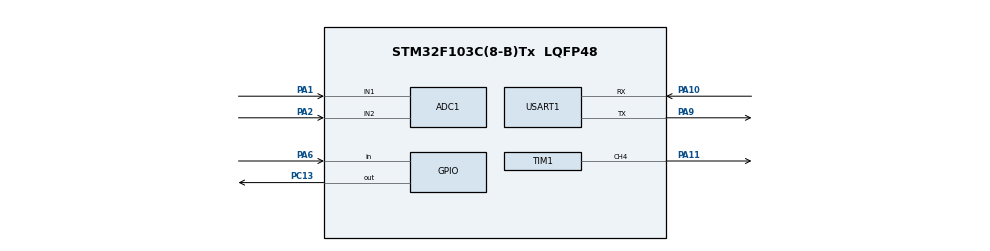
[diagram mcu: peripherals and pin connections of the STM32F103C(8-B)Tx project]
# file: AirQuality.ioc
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ADC1.Channel-1\#ChannelRegularConversion=ADC_CHANNEL_1
ADC1.NbrOfConversionFlag=1
ADC1.Rank-1\#ChannelRegularConversion=1
ADC1.SamplingTime-1\#ChannelRegularConversion=ADC_SAMPLETIME_1CYCLE_5
ADC1.master=1
Mcu.Family=STM32F1
Mcu.Name=STM32F103C(8-B)Tx
Mcu.Package=LQFP48
NVIC.PriorityGroup=NVIC_PRIORITYGROUP_4
NVIC.USART1_IRQn=true\:0\:0\:false\:false\:true\:true\:true\:true
PA1.Signal=ADCx_IN1
PA10.Mode=Asynchronous
PA10.Signal=USART1_RX
PA11.Signal=S_TIM1_CH4
PA13.Mode=Serial_Wire
PA13.Signal=SYS_JTMS-SWDIO
PA14.Mode=Serial_Wire
PA14.Signal=SYS_JTCK-SWCLK
PA2.Signal=ADCx_IN2
PA6.Signal=GPIO_Input
PA9.Mode=Asynchronous
PA9.Signal=USART1_TX
PC13-TAMPER-RTC.Signal=GPIO_Output
ProjectManager.HeapSize=0x200
ProjectManager.StackSize=0x400
ProjectManager.TargetToolchain=MDK-ARM V5
RCC.APB1Freq_Value=8000000
RCC.APB2Freq_Value=8000000
SH.ADCx_IN1.0=ADC1_IN1,IN1
SH.ADCx_IN2.0=ADC1_IN2,IN2
SH.S_TIM1_CH4.0=TIM1_CH4,PWM Generation4 CH4
TIM1.Channel-PWM\ Generation4\ CH4=TIM_CHANNEL_4
TIM1.Period=99
TIM1.Prescaler=7999
USART1.VirtualMode=VM_ASYNC
VP_TIM1_VS_ClockSourceINT.Mode=Internal
board=custom

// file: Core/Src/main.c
/* USER CODE BEGIN Header */
/**
  ******************************************************************************
  * @file           : main.c
  * @brief          : Main program body
  ******************************************************************************
  * @attention
  *
  * Copyright (c) 2024 STMicroelectronics.
  * All rights reserved.
  *
  * This software is licensed under terms that can be found in the LICENSE file
  * in the root directory of this software component.
  * If no LICENSE file comes with this software, it is provided AS-IS.
  *
  ******************************************************************************
  */
/* USER CODE END Header */
#include "main.h"

/* USER CODE BEGIN Includes */
#include <stdio.h>
/* USER CODE END Includes */

ADC_HandleTypeDef hadc1;

TIM_HandleTypeDef htim1;

UART_HandleTypeDef huart1;

//Fan speed when sensors detect gas or CO or Dust surpass threshold, max = 99
uint8_t fanPWM = 49u;
//CO threshold to turn on fan
uint16_t coThreshold = 2100;
//Dust threshold to turn on fan
uint16_t dustThreshold = 1200;

/* USER CODE BEGIN PV */
uint8_t rxBuffer[16] = "";
/* USER CODE END PV */

void SystemClock_Config(void);
static void MX_GPIO_Init(void);
static void MX_ADC1_Init(void);
static void MX_USART1_UART_Init(void);
static void MX_TIM1_Init(void);

/* USER CODE BEGIN 0 */

//Get ADC value using adc 1
uint16_t ADC_GetValue(uint32_t channel){
		ADC_ChannelConfTypeDef conf = {
				.Channel = channel,
				.Rank = 1,
				.SamplingTime = ADC_SAMPLETIME_1CYCLE_5,
		};
		if (HAL_ADC_ConfigChannel(&hadc1, &conf) != HAL_OK) {
        Error_Handler();
    }
		HAL_ADC_Start(&hadc1);
		HAL_ADC_PollForConversion(&hadc1,HAL_MAX_DELAY);
		uint16_t res = HAL_ADC_GetValue(&hadc1);
		HAL_ADC_Stop(&hadc1);
		return res;
}

//Update new threshold and fan speed by using UART
void HAL_UART_RxCpltCallback(UART_HandleTypeDef *huart){
		if(huart->Instance == huart1.Instance){
				//Get string
				HAL_UART_Receive(huart,rxBuffer,sizeof(rxBuffer),HAL_MAX_DELAY);

				//Get data from string
				sscanf((char*)rxBuffer,"%d %d %d\n\r",
						(int*)&fanPWM,(int*)&coThreshold,(int*)&dustThreshold);
		}
}

/* USER CODE END 0 */

int main(void)
{

  /* MCU Configuration--------------------------------------------------------*/

  /* Reset of all peripherals, Initializes the Flash interface and the Systick. */
  HAL_Init();

  /* Configure the system clock */
  SystemClock_Config();

  /* Initialize all configured peripherals */
  MX_GPIO_Init();
  MX_ADC1_Init();
  MX_USART1_UART_Init();
  MX_TIM1_Init();
  /* USER CODE BEGIN 2 */
	HAL_TIM_PWM_Start(&htim1,TIM_CHANNEL_4);
	HAL_UART_Receive_IT(&huart1,rxBuffer,sizeof(rxBuffer));
  /* USER CODE END 2 */

  /* Infinite loop */
  /* USER CODE BEGIN WHILE */
	uint16_t adc_value_1;
	uint16_t adc_value_2;
	GPIO_PinState isGas;
	uint8_t msg[32] = "";

  while (1)
  {
    /* USER CODE END WHILE */

    /* USER CODE BEGIN 3 */
		//Toggle Led
		HAL_GPIO_TogglePin(GPIOC,GPIO_PIN_13);

		//Check MQ135 dectect Gas, 1 means OK, 0 means having gas
		isGas = HAL_GPIO_ReadPin(GPIOA,GPIO_PIN_6);

		//Get analog value of MQ135
		adc_value_1 = ADC_GetValue(ADC_CHANNEL_1);
		//Get analog value of GP2Y1010AU0F Dust sensor
		adc_value_2 = ADC_GetValue(ADC_CHANNEL_2);

		//Check sensor value to turn on fan
		if(isGas == 0 || adc_value_1 >= coThreshold || adc_value_2 >= dustThreshold){
				//On fan
				__HAL_TIM_SET_COMPARE(&htim1,TIM_CHANNEL_4,fanPWM);
		}
		else{
				//Off fan
				__HAL_TIM_SET_COMPARE(&htim1,TIM_CHANNEL_4,0);
		}

		//Make msg(message) from variables
		sprintf((char *)msg,"%d %d %d\n\t",isGas,adc_value_1,adc_value_2);
		//Send string by using UART
		HAL_UART_Transmit(&huart1,msg,sizeof(msg),HAL_MAX_DELAY);

		HAL_Delay(1000);
  }
  /* USER CODE END 3 */
}

void SystemClock_Config(void)
{
  RCC_OscInitTypeDef RCC_OscInitStruct = {0};
  RCC_ClkInitTypeDef RCC_ClkInitStruct = {0};
  RCC_PeriphCLKInitTypeDef PeriphClkInit = {0};

  /** Initializes the RCC Oscillators according to the specified parameters
  * in the RCC_OscInitTypeDef structure.
  */
  RCC_OscInitStruct.OscillatorType = RCC_OSCILLATORTYPE_HSI;
  RCC_OscInitStruct.HSIState = RCC_HSI_ON;
  RCC_OscInitStruct.HSICalibrationValue = RCC_HSICALIBRATION_DEFAULT;
  RCC_OscInitStruct.PLL.PLLState = RCC_PLL_NONE;
  if (HAL_RCC_OscConfig(&RCC_OscInitStruct) != HAL_OK)
  {
    Error_Handler();
  }

  /** Initializes the CPU, AHB and APB buses clocks
  */
  RCC_ClkInitStruct.ClockType = RCC_CLOCKTYPE_HCLK|RCC_CLOCKTYPE_SYSCLK
                              |RCC_CLOCKTYPE_PCLK1|RCC_CLOCKTYPE_PCLK2;
  RCC_ClkInitStruct.SYSCLKSource = RCC_SYSCLKSOURCE_HSI;
  RCC_ClkInitStruct.AHBCLKDivider = RCC_SYSCLK_DIV1;
  RCC_ClkInitStruct.APB1CLKDivider = RCC_HCLK_DIV1;
  RCC_ClkInitStruct.APB2CLKDivider = RCC_HCLK_DIV1;

  if (HAL_RCC_ClockConfig(&RCC_ClkInitStruct, FLASH_LATENCY_0) != HAL_OK)
  {
    Error_Handler();
  }
  PeriphClkInit.PeriphClockSelection = RCC_PERIPHCLK_ADC;
  PeriphClkInit.AdcClockSelection = RCC_ADCPCLK2_DIV2;
  if (HAL_RCCEx_PeriphCLKConfig(&PeriphClkInit) != HAL_OK)
  {
    Error_Handler();
  }
}

static void MX_ADC1_Init(void)
{

  ADC_ChannelConfTypeDef sConfig = {0};

  /** Common config
  */
  hadc1.Instance = ADC1;
  hadc1.Init.ScanConvMode = ADC_SCAN_DISABLE;
  hadc1.Init.ContinuousConvMode = DISABLE;
  hadc1.Init.DiscontinuousConvMode = DISABLE;
  hadc1.Init.ExternalTrigConv = ADC_SOFTWARE_START;
  hadc1.Init.DataAlign = ADC_DATAALIGN_RIGHT;
  hadc1.Init.NbrOfConversion = 1;
  if (HAL_ADC_Init(&hadc1) != HAL_OK)
  {
    Error_Handler();
  }

  /** Configure Regular Channel
  */
  sConfig.Channel = ADC_CHANNEL_1;
  sConfig.Rank = ADC_REGULAR_RANK_1;
  sConfig.SamplingTime = ADC_SAMPLETIME_1CYCLE_5;
  if (HAL_ADC_ConfigChannel(&hadc1, &sConfig) != HAL_OK)
  {
    Error_Handler();
  }

}

static void MX_TIM1_Init(void)
{

  TIM_ClockConfigTypeDef sClockSourceConfig = {0};
  TIM_MasterConfigTypeDef sMasterConfig = {0};
  TIM_OC_InitTypeDef sConfigOC = {0};
  TIM_BreakDeadTimeConfigTypeDef sBreakDeadTimeConfig = {0};

  htim1.Instance = TIM1;
  htim1.Init.Prescaler = 7999;
  htim1.Init.CounterMode = TIM_COUNTERMODE_UP;
  htim1.Init.Period = 99;
  htim1.Init.ClockDivision = TIM_CLOCKDIVISION_DIV1;
  htim1.Init.RepetitionCounter = 0;
  htim1.Init.AutoReloadPreload = TIM_AUTORELOAD_PRELOAD_DISABLE;
  if (HAL_TIM_Base_Init(&htim1) != HAL_OK)
  {
    Error_Handler();
  }
  sClockSourceConfig.ClockSource = TIM_CLOCKSOURCE_INTERNAL;
  if (HAL_TIM_ConfigClockSource(&htim1, &sClockSourceConfig) != HAL_OK)
  {
    Error_Handler();
  }
  if (HAL_TIM_PWM_Init(&htim1) != HAL_OK)
  {
    Error_Handler();
  }
  sMasterConfig.MasterOutputTrigger = TIM_TRGO_RESET;
  sMasterConfig.MasterSlaveMode = TIM_MASTERSLAVEMODE_DISABLE;
  if (HAL_TIMEx_MasterConfigSynchronization(&htim1, &sMasterConfig) != HAL_OK)
  {
    Error_Handler();
  }
  sConfigOC.OCMode = TIM_OCMODE_PWM1;
  sConfigOC.Pulse = 0;
  sConfigOC.OCPolarity = TIM_OCPOLARITY_HIGH;
  sConfigOC.OCFastMode = TIM_OCFAST_DISABLE;
  sConfigOC.OCIdleState = TIM_OCIDLESTATE_RESET;
  sConfigOC.OCNIdleState = TIM_OCNIDLESTATE_RESET;
  if (HAL_TIM_PWM_ConfigChannel(&htim1, &sConfigOC, TIM_CHANNEL_4) != HAL_OK)
  {
    Error_Handler();
  }
  sBreakDeadTimeConfig.OffStateRunMode = TIM_OSSR_DISABLE;
  sBreakDeadTimeConfig.OffStateIDLEMode = TIM_OSSI_DISABLE;
  sBreakDeadTimeConfig.LockLevel = TIM_LOCKLEVEL_OFF;
  sBreakDeadTimeConfig.DeadTime = 0;
  sBreakDeadTimeConfig.BreakState = TIM_BREAK_DISABLE;
  sBreakDeadTimeConfig.BreakPolarity = TIM_BREAKPOLARITY_HIGH;
  sBreakDeadTimeConfig.AutomaticOutput = TIM_AUTOMATICOUTPUT_DISABLE;
  if (HAL_TIMEx_ConfigBreakDeadTime(&htim1, &sBreakDeadTimeConfig) != HAL_OK)
  {
    Error_Handler();
  }
  HAL_TIM_MspPostInit(&htim1);

}

static void MX_USART1_UART_Init(void)
{

  huart1.Instance = USART1;
  huart1.Init.BaudRate = 115200;
  huart1.Init.WordLength = UART_WORDLENGTH_8B;
  huart1.Init.StopBits = UART_STOPBITS_1;
  huart1.Init.Parity = UART_PARITY_NONE;
  huart1.Init.Mode = UART_MODE_TX_RX;
  huart1.Init.HwFlowCtl = UART_HWCONTROL_NONE;
  huart1.Init.OverSampling = UART_OVERSAMPLING_16;
  if (HAL_UART_Init(&huart1) != HAL_OK)
  {
    Error_Handler();
  }

}

static void MX_GPIO_Init(void)
{
  GPIO_InitTypeDef GPIO_InitStruct = {0};

  /* GPIO Ports Clock Enable */
  __HAL_RCC_GPIOC_CLK_ENABLE();
  __HAL_RCC_GPIOA_CLK_ENABLE();

  /*Configure GPIO pin Output Level */
  HAL_GPIO_WritePin(GPIOC, GPIO_PIN_13, GPIO_PIN_RESET);

  /*Configure GPIO pin : PC13 */
  GPIO_InitStruct.Pin = GPIO_PIN_13;
  GPIO_InitStruct.Mode = GPIO_MODE_OUTPUT_PP;
  GPIO_InitStruct.Pull = GPIO_NOPULL;
  GPIO_InitStruct.Speed = GPIO_SPEED_FREQ_LOW;
  HAL_GPIO_Init(GPIOC, &GPIO_InitStruct);

  /*Configure GPIO pin : PA6 */
  GPIO_InitStruct.Pin = GPIO_PIN_6;
  GPIO_InitStruct.Mode = GPIO_MODE_INPUT;
  GPIO_InitStruct.Pull = GPIO_NOPULL;
  HAL_GPIO_Init(GPIOA, &GPIO_InitStruct);

}

void Error_Handler(void)
{
  __disable_irq();
  while (1)
  {
  }
}
